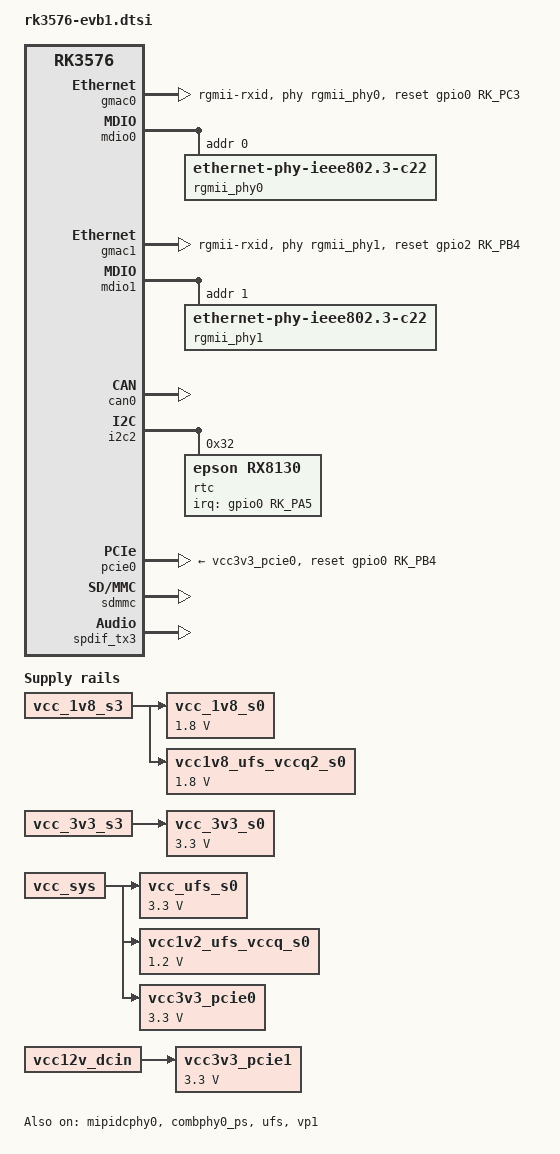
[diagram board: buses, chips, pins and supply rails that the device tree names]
// SPDX-License-Identifier: (GPL-2.0+ OR MIT)
/*
 * Copyright (c) 2024 Rockchip Electronics Co., Ltd.
 *
 */

#include <dt-bindings/usb/pd.h>
#include "rk3576-evb.dtsi"
#include "rk3576-rk806.dtsi"
#include "usb/rk3576-usb.dtsi"
#include "display/rk3576-display.dtsi"
#include "M.2_external/rk3576_M.2_wifibt.dtsi"
#include "camera/rk3576-cam.dtsi"
#include "rk3576-audio.dtsi"

/ {

	adc_keys_ch1:adc-keys-ch1{
		compatible = "adc-keys";
		io-channels = <&saradc 1>;
		io-channel-names = "buttons";
		keyup-threshold-microvolt = <1800000>;
		poll-interval = <100>;
		status = "disabled";

		v_up_key:v-up-key{
			label = "volume_up";
			linux,code = <KEY_VOLUMEUP>;
			press-threshold-microvolt = <45000>;	
		};
	};

	adc_keys_ch5:adc-keys-ch5{
		compatible = "adc-keys";
		io-channels = <&saradc 5>;
		io-channel-names = "buttons";
		keyup-threshold-microvolt = <1800000>;
		poll-interval = <100>;
		status = "disabled";

		v_down_key:v-down-key{
			label = "volume_down";
			linux,code = <KEY_VOLUMEDOWN>;
			press-threshold-microvolt = <45000>;	
		};
	};

	vcc_1v8_s0: vcc-1v8-s0 {
		compatible = "regulator-fixed";
		regulator-name = "vcc_1v8_s0";
		regulator-boot-on;
		regulator-always-on;
		regulator-min-microvolt = <1800000>;
		regulator-max-microvolt = <1800000>;
		vin-supply = <&vcc_1v8_s3>;
	};

	vcc_3v3_s0: vcc-3v3-s0 {
		compatible = "regulator-fixed";
		regulator-name = "vcc_3v3_s0";
		regulator-boot-on;
		regulator-always-on;
		regulator-min-microvolt = <3300000>;
		regulator-max-microvolt = <3300000>;
		vin-supply = <&vcc_3v3_s3>;
	};

	vcc_ufs_s0: vcc-ufs-s0 {
		compatible = "regulator-fixed";
		regulator-name = "vcc_ufs_s0";
		regulator-boot-on;
		regulator-always-on;
		regulator-min-microvolt = <3300000>;
		regulator-max-microvolt = <3300000>;
		vin-supply = <&vcc_sys>;
	};

	vcc1v8_ufs_vccq2_s0: vcc1v8-ufs-vccq2-s0 {
		compatible = "regulator-fixed";
		regulator-name = "vcc1v8_ufs_vccq2_s0";
		regulator-boot-on;
		regulator-always-on;
		regulator-min-microvolt = <1800000>;
		regulator-max-microvolt = <1800000>;
		vin-supply = <&vcc_1v8_s3>;
	};

	vcc1v2_ufs_vccq_s0: vcc1v2-ufs-vccq-s0 {
		compatible = "regulator-fixed";
		regulator-name = "vcc1v2_ufs_vccq_s0";
		regulator-boot-on;
		regulator-always-on;
		regulator-min-microvolt = <1200000>;
		regulator-max-microvolt = <1200000>;
		vin-supply = <&vcc_sys>;
	};

	/*vcc3v3_lcd_n: vcc3v3-lcd0-n {
		compatible = "regulator-fixed";
		regulator-name = "vcc3v3_lcd0_n";
		regulator-boot-on;
		enable-active-high;
		gpio = <&gpio0 RK_PC6 GPIO_ACTIVE_HIGH>;
		vin-supply = <&vcc_3v3_s0>;
	};*/

	vcc3v3_pcie0: vcc3v3-pcie0 {
	compatible = "regulator-fixed";
	regulator-name = "vcc3v3_pcie0";
	regulator-min-microvolt = <3300000>;
	regulator-max-microvolt = <3300000>;

	regulator-always-on;
	regulator-boot-on;

	startup-delay-us = <5000>;
	vin-supply = <&vcc_sys>;
	};

	vcc3v3_pcie1: vcc3v3-pcie1 {
		compatible = "regulator-fixed";
		regulator-name = "vcc3v3_pcie1";
		regulator-min-microvolt = <3300000>;
		regulator-max-microvolt = <3300000>;
		enable-active-high;
		// gpios = <&gpio3 RK_PD4 GPIO_ACTIVE_HIGH>;
		startup-delay-us = <5000>;
		vin-supply = <&vcc12v_dcin>;
	};

};

&gmac0 {
	/* Use rgmii-rxid mode to disable rx delay inside Soc */
	phy-mode = "rgmii-rxid";
	clock_in_out = "output";

	snps,reset-gpio = <&gpio0 RK_PC3 GPIO_ACTIVE_HIGH>;
	snps,reset-active-high;
	/* Reset time is 20ms, 100ms for rtl8211f */
	snps,reset-delays-us = <0 20000 100000>;

	pinctrl-names = "default";
	pinctrl-0 = <&eth0m0_miim
		     &eth0m0_tx_bus2
		     &eth0m0_rx_bus2
		     &eth0m0_rgmii_clk
		     &eth0m0_rgmii_bus
		     &ethm0_clk0_25m_out>;

	tx_delay = <0x20>;
	/* rx_delay = <0x3f>; */

	phy-handle = <&rgmii_phy0>;
	status = "okay";
};

&mdio0 {
	rgmii_phy0: phy@0 {
		compatible = "ethernet-phy-ieee802.3-c22";
		reg = <0x0>;
		clocks = <&cru REFCLKO25M_GMAC0_OUT>;
	};
};

&gmac1 {
	/* Use rgmii-rxid mode to disable rx delay inside Soc */
	phy-mode = "rgmii-rxid";
	clock_in_out = "output";

	snps,reset-gpio = <&gpio2 RK_PB4 GPIO_ACTIVE_HIGH>;
	snps,reset-active-high;
	/* Reset time is 20ms, 100ms for rtl8211f */
	snps,reset-delays-us = <0 20000 100000>;

	pinctrl-names = "default";
	pinctrl-0 = <&eth1m0_miim
		     &eth1m0_tx_bus2
		     &eth1m0_rx_bus2
		     &eth1m0_rgmii_clk
		     &eth1m0_rgmii_bus
		     &ethm0_clk1_25m_out>;

	tx_delay = <0x20>;
	/* rx_delay = <0x3f>; */

	phy-handle = <&rgmii_phy1>;
	status = "okay";
};

&mdio1 {
	rgmii_phy1: phy@1 {
		compatible = "ethernet-phy-ieee802.3-c22";
		reg = <0x1>;
		clocks = <&cru REFCLKO25M_GMAC1_OUT>;
	};
};


&can0 {
	assigned-clocks = <&cru CLK_CAN0>;
	assigned-clock-rates = <150000000>;
	pinctrl-names = "default";
	pinctrl-0 = <&can0m2_pins>;
	status = "okay";
};

&can1 {
	assigned-clocks = <&cru CLK_CAN1>;
	assigned-clock-rates = <150000000>;
	pinctrl-names = "default";
	pinctrl-0 = <&can1m0_pins>;
	status = "disabled";
};

&i2c2 {
	status = "okay";
	rtc: rtc@32 {
			reg = <0x32>;
			compatible = "epson,rx8130";
			interrupt-parent = <&gpio0>;
			interrupts = <RK_PA5 IRQ_TYPE_LEVEL_LOW>;
			pinctrl-names = "default";
			pinctrl-0 = <&rx8130_gpio>;
	};
};

/*
&mdio0 {
	rgmii_phy0: phy@1 {
		compatible = "ethernet-phy-ieee802.3-c22";
		reg = <0x1>;
		clocks = <&cru REFCLKO25M_GMAC0_OUT>;
	};
};

&mdio1 {
	rgmii_phy1: phy@1 {
		compatible = "ethernet-phy-ieee802.3-c22";
		reg = <0x1>;
		clocks = <&cru REFCLKO25M_GMAC1_OUT>;
	};
};
*/
&mipidcphy0 {
	status = "okay";
};

&pinctrl {
	rx8130_gpio {
		rx8130_gpio:rx8130_gpio{
			rockchip,pins = <0 RK_PA5 RK_FUNC_GPIO &pcfg_pull_up>;
		};
	};
};

&combphy0_ps{
	status = "okay";
};

&pcie0 {
	phy-names = "pcie-phy";

	reset-gpios = <&gpio0 RK_PB4 GPIO_ACTIVE_HIGH>;
	rockchip,skip-scan-in-resume;
	pinctrl-names = "default";
	//pinctrl-0 = <&wifi_poweren_gpio>;
	vpcie3v3-supply = <&vcc3v3_pcie0>;
	status = "okay";
};


&pcie1 {
	reset-gpios = <&gpio4 RK_PC4 GPIO_ACTIVE_HIGH>;
	vpcie3v3-supply = <&vcc3v3_pcie1>;
	status = "disabled";
};

&pdm1 {
	status = "disabled";
	pinctrl-names = "default", "idle", "clk";
	pinctrl-0 = <&pdm1m1_sdi0
		     &pdm1m1_sdi1
		     &pdm1m1_sdi2
		     &pdm1m1_sdi3>;
	pinctrl-1 = <&pdm1m1_clk0_idle
		     &pdm1m1_clk1_idle>;
	pinctrl-2 = <&pdm1m1_clk0
		     &pdm1m1_clk1>;
};

&sdmmc {
	status = "okay";
};

&spdif_tx3 {
	status = "okay";
};

&ufs {
	vcc-supply = <&vcc_ufs_s0>;
	vccq-supply = <&vcc1v2_ufs_vccq_s0>;
	vccq2-supply = <&vcc1v8_ufs_vccq2_s0>;
	status = "okay";
};

&vp0 {
	status = "disabled";
};

&vp1 {
	status = "okay";
};
